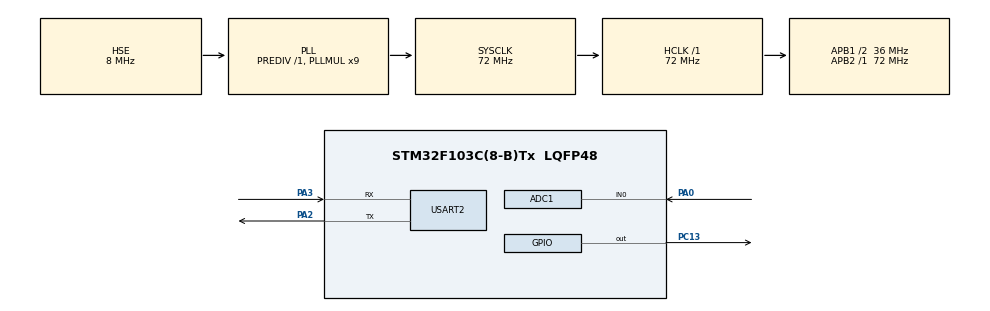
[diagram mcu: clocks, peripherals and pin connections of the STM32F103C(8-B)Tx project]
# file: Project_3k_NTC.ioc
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ADC1.Channel-0\#ChannelRegularConversion=ADC_CHANNEL_0
ADC1.ContinuousConvMode=ENABLE
ADC1.NbrOfConversionFlag=1
ADC1.Rank-0\#ChannelRegularConversion=1
ADC1.SamplingTime-0\#ChannelRegularConversion=ADC_SAMPLETIME_1CYCLE_5
ADC1.master=1
Mcu.Family=STM32F1
Mcu.Name=STM32F103C(8-B)Tx
Mcu.Package=LQFP48
NVIC.PriorityGroup=NVIC_PRIORITYGROUP_4
PA0-WKUP.Signal=ADCx_IN0
PA13.Mode=Serial_Wire
PA13.Signal=SYS_JTMS-SWDIO
PA14.Mode=Serial_Wire
PA14.Signal=SYS_JTCK-SWCLK
PA2.Mode=Asynchronous
PA2.Signal=USART2_TX
PA3.Mode=Asynchronous
PA3.Signal=USART2_RX
PC13-TAMPER-RTC.Signal=GPIO_Output
PD0-OSC_IN.Mode=HSE-External-Oscillator
PD0-OSC_IN.Signal=RCC_OSC_IN
PD1-OSC_OUT.Mode=HSE-External-Oscillator
PD1-OSC_OUT.Signal=RCC_OSC_OUT
ProjectManager.HeapSize=0x200
ProjectManager.StackSize=0x400
ProjectManager.TargetToolchain=STM32CubeIDE
RCC.ADCPresc=RCC_ADCPCLK2_DIV6
RCC.AHBFreq_Value=72000000
RCC.APB1CLKDivider=RCC_HCLK_DIV2
RCC.APB1Freq_Value=36000000
RCC.APB1TimFreq_Value=72000000
RCC.APB2Freq_Value=72000000
RCC.APB2TimFreq_Value=72000000
RCC.HCLKFreq_Value=72000000
RCC.PLLMUL=RCC_PLL_MUL9
RCC.PLLSourceVirtual=RCC_PLLSOURCE_HSE
RCC.SYSCLKFreq_VALUE=72000000
RCC.SYSCLKSource=RCC_SYSCLKSOURCE_PLLCLK
RCC.USBFreq_Value=72000000
SH.ADCx_IN0.0=ADC1_IN0,IN0
USART2.VirtualMode=VM_ASYNC
board=custom

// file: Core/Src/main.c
/* USER CODE BEGIN Header */
/**
  ******************************************************************************
  * @file           : main.c
  * @brief          : Main program body
  ******************************************************************************
  * @attention
  *
  * Copyright (c) 2023 STMicroelectronics.
  * All rights reserved.
  *
  * This software is licensed under terms that can be found in the LICENSE file
  * in the root directory of this software component.
  * If no LICENSE file comes with this software, it is provided AS-IS.
  *
  ******************************************************************************
  */
/* USER CODE END Header */
#include "main.h"

/* USER CODE BEGIN PD */
#define 	R1_VALUE	10000
uint16_t 	R2_VALUE;
uint16_t 	adcValue;
double		TlastK;
float		TlastC;
float 		res;
float		vNTC;
double		A=1.4*pow(10,-3);
double		B=2.37*pow(10,-4);
double		C=1.03*pow(10,-7);
char		buffer_value[100];
uint8_t  	buffer[]="Temperature:";
uint8_t 	buffer_sending[]="     \n\r";

/* USER CODE END PD */

ADC_HandleTypeDef hadc1;

UART_HandleTypeDef huart2;

void SystemClock_Config(void);
static void MX_GPIO_Init(void);
static void MX_ADC1_Init(void);
static void MX_USART2_UART_Init(void);

int main(void)
{

  /* MCU Configuration--------------------------------------------------------*/

  /* Reset of all peripherals, Initializes the Flash interface and the Systick. */
  HAL_Init();

  /* Configure the system clock */
  SystemClock_Config();

  /* Initialize all configured peripherals */
  MX_GPIO_Init();
  MX_ADC1_Init();
  MX_USART2_UART_Init();
  /* USER CODE BEGIN 2 */
  HAL_ADC_Start(&hadc1);
  /* USER CODE END 2 */

  /* Infinite loop */
  /* USER CODE BEGIN WHILE */
  while (1)
  {
	  adcValue=HAL_ADC_GetValue(&hadc1);					// adc1 read
	  HAL_Delay(100);
	  res=8.1*pow(10,-4);									//Calculation resolution
	  vNTC=adcValue*res;
	  R2_VALUE= vNTC*R1_VALUE/(3.3-vNTC);					//Calculation  Resistor R2
	  TlastK=1/(A+B*log(R2_VALUE)+C*pow(log(R2_VALUE),3));	//Calculation temperature( Kelvin)
	  TlastC=TlastK-273.15;									//Calculation temperature(Celcius)
	  HAL_UART_Transmit(&huart2,buffer,sizeof(buffer),10);
	  HAL_Delay(1000);
	  sprintf(buffer_value,"%f",TlastC);
	  for(int i=0;i<5;i++)
	  {
		  buffer_sending[i]=buffer_value[i];
	  }
	  HAL_UART_Transmit(&huart2,buffer_sending,sizeof(buffer_sending),10);
	  HAL_Delay(1000);
  }
}
    /* USER CODE END WHILE */

void SystemClock_Config(void)
{
  RCC_OscInitTypeDef RCC_OscInitStruct = {0};
  RCC_ClkInitTypeDef RCC_ClkInitStruct = {0};
  RCC_PeriphCLKInitTypeDef PeriphClkInit = {0};

  /** Initializes the RCC Oscillators according to the specified parameters
  * in the RCC_OscInitTypeDef structure.
  */
  RCC_OscInitStruct.OscillatorType = RCC_OSCILLATORTYPE_HSE;
  RCC_OscInitStruct.HSEState = RCC_HSE_ON;
  RCC_OscInitStruct.HSEPredivValue = RCC_HSE_PREDIV_DIV1;
  RCC_OscInitStruct.HSIState = RCC_HSI_ON;
  RCC_OscInitStruct.PLL.PLLState = RCC_PLL_ON;
  RCC_OscInitStruct.PLL.PLLSource = RCC_PLLSOURCE_HSE;
  RCC_OscInitStruct.PLL.PLLMUL = RCC_PLL_MUL9;
  if (HAL_RCC_OscConfig(&RCC_OscInitStruct) != HAL_OK)
  {
    Error_Handler();
  }

  /** Initializes the CPU, AHB and APB buses clocks
  */
  RCC_ClkInitStruct.ClockType = RCC_CLOCKTYPE_HCLK|RCC_CLOCKTYPE_SYSCLK
                              |RCC_CLOCKTYPE_PCLK1|RCC_CLOCKTYPE_PCLK2;
  RCC_ClkInitStruct.SYSCLKSource = RCC_SYSCLKSOURCE_PLLCLK;
  RCC_ClkInitStruct.AHBCLKDivider = RCC_SYSCLK_DIV1;
  RCC_ClkInitStruct.APB1CLKDivider = RCC_HCLK_DIV2;
  RCC_ClkInitStruct.APB2CLKDivider = RCC_HCLK_DIV1;

  if (HAL_RCC_ClockConfig(&RCC_ClkInitStruct, FLASH_LATENCY_2) != HAL_OK)
  {
    Error_Handler();
  }
  PeriphClkInit.PeriphClockSelection = RCC_PERIPHCLK_ADC;
  PeriphClkInit.AdcClockSelection = RCC_ADCPCLK2_DIV6;
  if (HAL_RCCEx_PeriphCLKConfig(&PeriphClkInit) != HAL_OK)
  {
    Error_Handler();
  }
}

static void MX_ADC1_Init(void)
{

  ADC_ChannelConfTypeDef sConfig = {0};

  /** Common config
  */
  hadc1.Instance = ADC1;
  hadc1.Init.ScanConvMode = ADC_SCAN_DISABLE;
  hadc1.Init.ContinuousConvMode = ENABLE;
  hadc1.Init.DiscontinuousConvMode = DISABLE;
  hadc1.Init.ExternalTrigConv = ADC_SOFTWARE_START;
  hadc1.Init.DataAlign = ADC_DATAALIGN_RIGHT;
  hadc1.Init.NbrOfConversion = 1;
  if (HAL_ADC_Init(&hadc1) != HAL_OK)
  {
    Error_Handler();
  }

  /** Configure Regular Channel
  */
  sConfig.Channel = ADC_CHANNEL_0;
  sConfig.Rank = ADC_REGULAR_RANK_1;
  sConfig.SamplingTime = ADC_SAMPLETIME_1CYCLE_5;
  if (HAL_ADC_ConfigChannel(&hadc1, &sConfig) != HAL_OK)
  {
    Error_Handler();
  }

}

static void MX_USART2_UART_Init(void)
{

  huart2.Instance = USART2;
  huart2.Init.BaudRate = 115200;
  huart2.Init.WordLength = UART_WORDLENGTH_8B;
  huart2.Init.StopBits = UART_STOPBITS_1;
  huart2.Init.Parity = UART_PARITY_NONE;
  huart2.Init.Mode = UART_MODE_TX_RX;
  huart2.Init.HwFlowCtl = UART_HWCONTROL_NONE;
  huart2.Init.OverSampling = UART_OVERSAMPLING_16;
  if (HAL_UART_Init(&huart2) != HAL_OK)
  {
    Error_Handler();
  }

}

static void MX_GPIO_Init(void)
{
  GPIO_InitTypeDef GPIO_InitStruct = {0};

  /* GPIO Ports Clock Enable */
  __HAL_RCC_GPIOC_CLK_ENABLE();
  __HAL_RCC_GPIOD_CLK_ENABLE();
  __HAL_RCC_GPIOA_CLK_ENABLE();

  /*Configure GPIO pin Output Level */
  HAL_GPIO_WritePin(GPIOC, GPIO_PIN_13, GPIO_PIN_RESET);

  /*Configure GPIO pin : PC13 */
  GPIO_InitStruct.Pin = GPIO_PIN_13;
  GPIO_InitStruct.Mode = GPIO_MODE_OUTPUT_PP;
  GPIO_InitStruct.Pull = GPIO_NOPULL;
  GPIO_InitStruct.Speed = GPIO_SPEED_FREQ_LOW;
  HAL_GPIO_Init(GPIOC, &GPIO_InitStruct);

}

void Error_Handler(void)
{
  __disable_irq();
  while (1)
  {
  }
}
